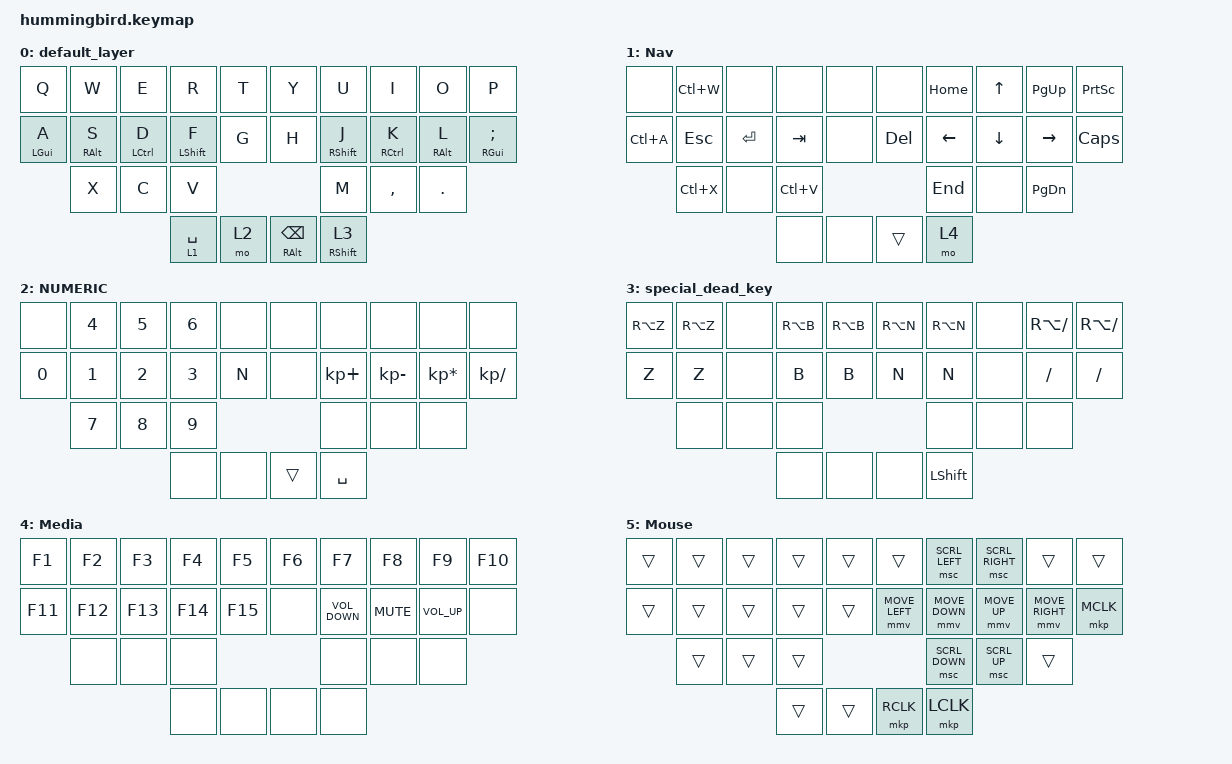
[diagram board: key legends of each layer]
/*
 * Copyright (c) 2022 The ZMK Contributors
 *
 * SPDX-License-Identifier: MIT
 */

#include <behaviors.dtsi>
#include <dt-bindings/zmk/keys.h>
#include <dt-bindings/zmk/pointing.h>

#define DEF_L 0
#define NAV_L 1
#define NUM_L 2
#define SYM_L 3
#define ZMK_POINTING_DEFAULT_MOVE_VAL 800  // default: 600

// Using layer taps on thumbs, having quick tap as well helps w/ repeating space/backspace

/ {
    behaviors {
        hml: hml {
            compatible = "zmk,behavior-hold-tap";
            flavor = "balanced";
            tapping-term-ms = <280>;
            quick-tap-ms = <175>;
            #binding-cells = <2>;
            bindings = <&kp>, <&kp>;

            hold-trigger-key-positions = <5 6 7 8 9 19 18 17 16 15 23 24 25 29 28 27 26>;
            require-prior-idle-ms = <150>;
            hold-trigger-on-release;
        };

        hmr: hmr {
            compatible = "zmk,behavior-hold-tap";
            flavor = "balanced";
            tapping-term-ms = <280>;
            quick-tap-ms = <175>;
            #binding-cells = <2>;
            bindings = <&kp>, <&kp>;

            hold-trigger-key-positions = <4 3 2 1 0 10 11 12 13 14 22 21 20 26 27 28 29>;
            require-prior-idle-ms = <150>;
            hold-trigger-on-release;
        };

        hroa: hroa {
            compatible = "zmk,behavior-hold-tap";
            flavor = "balanced";
            tapping-term-ms = <200>;
            quick-tap-ms = <150>;
            #binding-cells = <2>;
            bindings = <&kp>, <&open_angle_quote>;

            hold-trigger-key-positions = <5 6 7 8 9 19 18 17 16 15 23 24 25 29 28 27 26>;
            require-prior-idle-ms = <100>;
            hold-trigger-on-release;
            label = "HROA";
        };

        hrl: hrl {
            compatible = "zmk,behavior-hold-tap";
            flavor = "balanced";
            tapping-term-ms = <280>;
            quick-tap-ms = <175>;
            #binding-cells = <2>;
            bindings = <&mo>, <&kp>;

            hold-trigger-key-positions = <5 6 7 8 9 19 18 17 16 15 23 24 25 29 28 27 26>;
            require-prior-idle-ms = <150>;
            hold-trigger-on-release;
            label = "HRL";
        };

        f_hml: f_hml {
            compatible = "zmk,behavior-hold-tap";
            flavor = "balanced";
            tapping-term-ms = <200>;
            quick-tap-ms = <150>;
            #binding-cells = <2>;
            bindings = <&kp>, <&kp>;

            hold-trigger-key-positions = <5 6 7 8 9 19 18 17 16 15 23 24 25 29 28 27 26>;
            require-prior-idle-ms = <100>;
            hold-trigger-on-release;
            label = "F_HML";
        };

        f_hmr: f_hmr {
            compatible = "zmk,behavior-hold-tap";
            flavor = "balanced";
            tapping-term-ms = <200>;
            quick-tap-ms = <150>;
            #binding-cells = <2>;
            bindings = <&kp>, <&kp>;

            hold-trigger-key-positions = <4 3 2 1 0 10 11 12 13 14 22 21 20 26 27 28 29>;
            require-prior-idle-ms = <100>;
            hold-trigger-on-release;
            label = "F_HMR";
        };

        caps_enter: caps_enter {
            compatible = "zmk,behavior-tap-dance";
            label = "CAPS_ENTER";
            #binding-cells = <0>;
            bindings = <&mt LEFT_SHIFT ENTER>, <&kp CAPSLOCK>;

            tapping-term-ms = <200>;
        };

        layer_transform: layer_transform {
            compatible = "zmk,behavior-hold-tap";
            label = "LAYER_TRANSFORM";
            bindings = <&kp>, <&sl>;

            #binding-cells = <2>;
            flavor = "balanced";
            tapping-term-ms = <150>;
        };
    };

    combos {
        compatible = "zmk,combos";

        cb_z {
            bindings = <&kp Z>;
            key-positions = <11 1>;
            layers = <0>;
        };

        cb_b {
            bindings = <&kp B>;
            key-positions = <13 3>;
            layers = <0>;
        };

        cb_dot {
            bindings = <&kp N>;
            key-positions = <16 6>;
            layers = <0>;
        };

        cb_k {
            bindings = <&kp SLASH>;
            key-positions = <18 8>;
            layers = <0>;
        };

        cz {
            bindings = <&kp Z>;
            key-positions = <20 21>;
            layers = <0>;
        };

        cb {
            bindings = <&kp B>;
            key-positions = <22 21>;
            layers = <0>;
        };

        cdot {
            bindings = <&kp N>;
            key-positions = <23 24>;
            layers = <0>;
        };

        ck {
            bindings = <&kp SLASH>;
            key-positions = <25 24>;
            layers = <0>;
        };

        studio_unlock {
            bindings = <&studio_unlock>;
            key-positions = <26 27 28 29>;
            layers = <0>;
        };

        fast_esc {
            bindings = <&kp ESCAPE>;
            key-positions = <12 11>;
            require-prior-idle-ms = <100>;
            timeout-ms = <15>;
            layers = <0>;
        };

        fast_tab {
            bindings = <&kp TAB>;
            key-positions = <12 13>;
            require-prior-idle-ms = <100>;
            timeout-ms = <15>;
            layers = <0>;
        };

        fast_enter {
            bindings = <&kp ENTER>;
            key-positions = <18 17>;
            require-prior-idle-ms = <100>;
            timeout-ms = <15>;
            layers = <0>;
        };

        fast_backspace {
            bindings = <&kp BACKSPACE>;
            key-positions = <17 16>;
            require-prior-idle-ms = <100>;
            timeout-ms = <15>;
            layers = <0>;
        };

        enter {
            bindings = <&kp ENTER>;
            key-positions = <26 27>;
            layers = <0>;
        };

        z {
            bindings = <&kp Z>;
            key-positions = <11 20>;
            layers = <0>;
        };

        b {
            bindings = <&kp B>;
            key-positions = <13 22>;
            layers = <0>;
        };

        dot {
            bindings = <&kp N>;
            key-positions = <16 23>;
            layers = <0>;
        };

        k {
            bindings = <&kp SLASH>;
            key-positions = <18 25>;
            layers = <0>;
        };
    };

    macros {
        open_angle_quote: open_angle_quote {
            compatible = "zmk,behavior-macro";
            #binding-cells = <0>;
            bindings = <&kp LS(NUMBER_2) &kp LS(SPACE)>;
            label = "OPEN_ANGLE_QUOTE";
        };

        closed_angle_quote: closed_angle_quote {
            compatible = "zmk,behavior-macro";
            #binding-cells = <0>;
            bindings = <&kp LS(SPACE) &kp LS(NUMBER_3)>;
            label = "CLOSED_ANGLE_QUOTE";
        };

        tmux_H: tmux_H {
            compatible = "zmk,behavior-macro";
            #binding-cells = <0>;
            bindings = <&kp LC(B) &kp RA(T)>;
            label = "TMUX_H";
        };

        tmux_V: tmux_V {
            compatible = "zmk,behavior-macro";
            #binding-cells = <0>;
            bindings = <&kp LC(B) &kp RA(SEMICOLON)>;
            label = "TMUX_V";
        };
    };

    keymap {
        compatible = "zmk,keymap";

        default_layer {
            bindings = <
&kp Q        &kp W        &kp E         &kp R           &kp T    &kp Y                    &kp U                           &kp I         &kp O        &kp P
&hml LGUI A  &hml RALT S  &hml LCTRL D  &f_hml LSHFT F  &kp G    &kp H                    &f_hmr RSHFT J                  &hmr RCTRL K  &hmr RALT L  &hmr RGUI SEMICOLON
             &kp X        &kp C         &kp V                                             &kp M                           &kp COMMA     &kp DOT
                                        &lt 1 SPACE     &mo 2    &mt RIGHT_ALT BACKSPACE  &layer_transform RIGHT_SHIFT 3
            >;
        };

        nav_layer {
            display-name = "Nav";
            bindings = <
&none      &kp LC(W)   &none      &none      &none    &none       &kp HOME        &kp UP_ARROW    &kp PAGE_UP    &kp PRINTSCREEN
&kp LC(A)  &kp ESCAPE  &kp ENTER  &kp TAB    &none    &kp DELETE  &kp LEFT_ARROW  &kp DOWN_ARROW  &kp RIGHT      &kp CAPS
           &kp LC(X)   &none      &kp LC(V)                       &kp END         &none           &kp PAGE_DOWN
                                  &none      &none    &trans      &mo 4
            >;
        };

        num_layer {
            display-name = "NUMERIC";
            bindings = <
&none         &kp NUMBER_4  &kp N5        &kp NUMBER_6  &none    &none   &none        &none            &none            &none
&kp NUMBER_0  &kp NUMBER_1  &kp NUMBER_2  &kp NUMBER_3  &kp N    &none   &kp KP_PLUS  &kp KP_SUBTRACT  &kp KP_MULTIPLY  &kp KP_DIVIDE
              &kp NUMBER_7  &kp NUMBER_8  &kp NUMBER_9                   &none        &none            &none
                                          &none         &none    &trans  &kp SPACE
            >;
        };

        special_dead_key {
            bindings = <
&kp RA(Z)  &kp RA(Z)  &none  &kp RA(B)  &kp RA(B)    &kp RA(N)  &kp RA(N)       &none  &kp RA(SLASH)  &kp RA(SLASH)
&kp Z      &kp Z      &none  &kp B      &kp B        &kp N      &kp N           &none  &kp SLASH      &kp SLASH
           &none      &none  &none                              &none           &none  &none
                             &none      &none        &none      &kp LEFT_SHIFT
            >;
        };

        Media {
            display-name = "Media";
            bindings = <
&kp F1   &kp F2   &kp F3   &kp F4   &kp F5     &kp F6  &kp F7             &kp F8      &kp F9           &kp F10
&kp F11  &kp F12  &kp F13  &kp F14  &kp F15    &none   &kp C_VOLUME_DOWN  &kp C_MUTE  &kp C_VOLUME_UP  &none
         &none    &none    &none                       &none              &none       &none
                           &none    &none      &none   &none
            >;
        };

        Mouse {
            bindings = <
&trans  &trans  &trans  &trans  &trans    &trans          &msc SCRL_LEFT  &msc SCRL_RIGHT  &trans           &trans
&trans  &trans  &trans  &trans  &trans    &mmv MOVE_LEFT  &mmv MOVE_DOWN  &mmv MOVE_UP     &mmv MOVE_RIGHT  &mkp MCLK
        &trans  &trans  &trans                            &msc SCRL_DOWN  &msc SCRL_UP     &trans
                        &trans  &trans    &mkp RCLK       &mkp LCLK
            >;
        };
    };

    conditional_layers { compatible = "zmk,conditional-layers"; };
};
